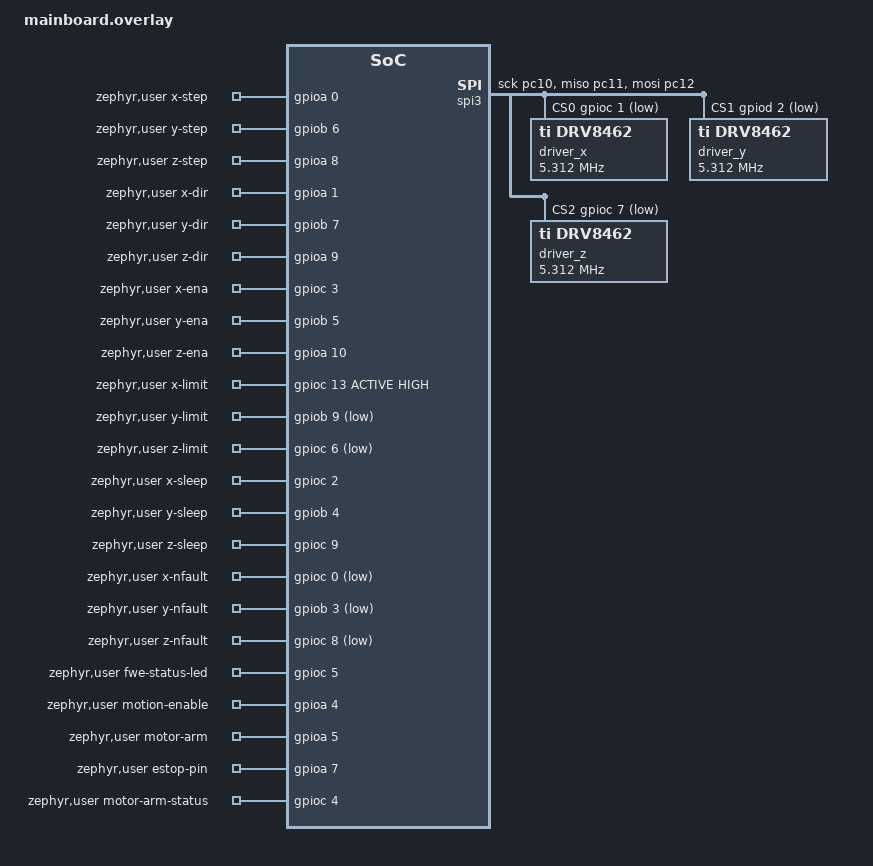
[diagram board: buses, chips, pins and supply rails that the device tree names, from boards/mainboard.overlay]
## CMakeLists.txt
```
cmake_minimum_required(VERSION 3.20)

# for global installs
find_package(Zephyr REQUIRED HINTS $ENV{ZEPHYR_BASE})

# populated the $PROJECT_NAME var and this is what the output files are named
project(firepod)

# lets the compiler find the .h files in src/ (ST's driver headers, platform.h)
target_include_directories(app PRIVATE ${CMAKE_CURRENT_SOURCE_DIR}/src)

# app is a predesignated target that zephyr uses
target_sources(app PRIVATE
    src/main.c
    src/distance_sensor.c
    src/platform.c
    src/VL53L4CD_api.c
    src/VL53L4CD_calibration.c
)
```

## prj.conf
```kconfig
CONFIG_SPI=y
CONFIG_SERIAL=y
CONFIG_UART_INTERRUPT_DRIVEN=y
CONFIG_PRINTK=y
CONFIG_CONSOLE=y
CONFIG_UART_CONSOLE=y
CONFIG_LOG_MODE_IMMEDIATE=y
CONFIG_GPIO=y
```

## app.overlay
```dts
&arduino_i2c {
    status = "okay";
};

/ {
    zephyr,user {
        irq-gpios = <&arduino_header 8 (GPIO_ACTIVE_LOW | GPIO_PULL_UP)>;
    };
};
```

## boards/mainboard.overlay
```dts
/* hi so this is like the device tree overlay, aka like which hardwares are connected to where

WHAT NEEDS TO BE IMPL FOR THE ACC PCB:
    SPI PROTOCAL FOR THE MOTORS
    ENA PINS FOR THE MOTORS

    */
#include <zephyr/dt-bindings/gpio/gpio.h>

/*
    AS OF NOW, MOTION EN AND MOTION ARM ARE JUST LIKE TURNED ON
    HOWEVER! I need to impl to make sure that the estop isnt relreased, and that yea check
    the msg that david sent me and do whatever i need to do
*/
/{
    zephyr,user {
        /* STEP GPIOS:
            every pulse moves the motor one microstep
            # of pulses = how far it foes
            how fast my pulse = how fast it goes  */

        //FINISH UP ON THE SETTING AFTER THE SPI PROTOCAL IS DONE
        x-step-gpios = <&gpioa 0 GPIO_ACTIVE_HIGH>;
        y-step-gpios = <&gpiob 6 GPIO_ACTIVE_HIGH>;
        z-step-gpios = <&gpioa 8 GPIO_ACTIVE_HIGH>;
        /* DIR GPIOS:
            this picks like which way the motor goes (right or left)
            we set this before stepping and wait at least 5 mu/sec after changing it */
        x-dir-gpios = <&gpioa 1 GPIO_ACTIVE_HIGH>;
        y-dir-gpios = <&gpiob 7 GPIO_ACTIVE_HIGH>;
        z-dir-gpios = <&gpioa 9 GPIO_ACTIVE_HIGH>;


        x-ena-gpios = <&gpioc 3 GPIO_ACTIVE_HIGH>;
        y-ena-gpios = <&gpiob 5 GPIO_ACTIVE_HIGH>;
        z-ena-gpios = <&gpioa 10 GPIO_ACTIVE_HIGH>;

        /* ENA GPIOS:
            this turns the driver's power on/off
            for the testing driver this is alr enabled by default when unconnected
            so that;s why we dont have it yet... but will need to impl for the real one

            ACTIVE HIGH CONFIRMED BY ZACH ON 11/23/2026
            */

        x-limit-gpios = <&gpioc 13 ACTIVE HIGH>;
        y-limit-gpios = <&gpiob 9 (GPIO_ACTIVE_LOW | GPIO_PULL_UP)>;
        z-limit-gpios = <&gpioc 6 (GPIO_ACTIVE_LOW | GPIO_PULL_UP)>;

        /* TODO: impl the spi protocal for the actual driver (we dont need it for the curr one) */

        // the SLEEP PINS
        x-sleep-gpios = <&gpioc 2 GPIO_ACTIVE_HIGH>;
        y-sleep-gpios = <&gpiob 4 GPIO_ACTIVE_HIGH>;
        z-sleep-gpios = <&gpioc 9 GPIO_ACTIVE_HIGH>;

        // NFAULTTT
        x-nfault-gpios = <&gpioc 0 (GPIO_ACTIVE_LOW | GPIO_PULL_UP)>;
        y-nfault-gpios = <&gpiob 3 (GPIO_ACTIVE_LOW | GPIO_PULL_UP)>;
        z-nfault-gpios = <&gpioc 8 (GPIO_ACTIVE_LOW | GPIO_PULL_UP)>;

        //FWE STATUS LED
        fwe-status-led-gpios = <&gpioc 5 GPIO_ACTIVE_HIGH>;

        //MOTION ENABLE PIN
        motion-enable-gpios = <&gpioa 4 GPIO_ACTIVE_HIGH>;

        //MOTOR ARM
        motor-arm-gpios = <&gpioa 5 GPIO_ACTIVE_HIGH>;

        //estop status
        estop-pin-gpios = <&gpioa 7 GPIO_ACTIVE_HIGH>;

        //arm status
        motor-arm-status-gpios = <&gpioc 4 GPIO_ACTIVE_HIGH>;


    };
};

&spi3{

    status = "okay";
    pinctrl-0 = <&spi3_sck_pc10 &spi3_miso_pc11 &spi3_mosi_pc12>;
    pinctrl-names = "default";

    // CS (Chip Select) GPIOS
    cs-gpios = <&gpioc 1 GPIO_ACTIVE_LOW>, // X
                <&gpiod 2 GPIO_ACTIVE_LOW>, // Y
                <&gpioc 7 GPIO_ACTIVE_LOW>; // Z

    driver_x: drv8462@0{
        compatible = "ti,drv8462";
        reg = <0>;
        spi-max-frequency = <5312500>;
    };

    driver_y: drv8462@1{
        compatible = "ti,drv8462";
        reg = <1>;
        spi-max-frequency = <5312500>;
    };

    driver_z: drv8462@2{
        compatible = "ti,drv8462";
        reg = <2>;
        spi-max-frequency = <5312500>;
    };
};
```

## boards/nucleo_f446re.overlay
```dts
/* hi so this is like the device tree overlay, aka like which hardwares are connected to where

WHAT NEEDS TO BE IMPL FOR THE ACC PCB:
    SPI PROTOCAL FOR THE MOTORS
    ENA PINS FOR THE MOTORS

    */
#include <zephyr/dt-bindings/gpio/gpio.h>


/{
    zephyr,user {
        /* STEP GPIOS:
            every pulse moves the motor one microstep
            # of pulses = how far it foes
            how fast my pulse = how fast it goes  */
        step-gpios = <&gpioa 8 (GPIO_ACTIVE_LOW | GPIO_OPEN_DRAIN)>;
        /* DIR GPIOS:
            this picks like which way the motor goes (right or left)
            we set this before stepping and wait at least 5 mu/sec after changing it */
        dir-gpios  = <&gpiob 10 (GPIO_ACTIVE_LOW | GPIO_OPEN_DRAIN)>;

        ena-gpios = <&gpiob 14 GPIO_ACTIVE_LOW>;
        /* ENA GPIOS:
            this turns the driver's power on/off
            for the testing driver this is alr enabled by default when unconnected
            so that;s why we dont have it yet... but will need to impl for the real one*/

        /* TODO: impl ENA GPIOS for the actual driver  */
        /* TODO: impl the spi protocal for the actual driver (we dont need it for the curr one) */

    };
};
&usart1 {
    pinctrl-0 = <&usart1_tx_pa9 &usart1_rx_pa10>;
    pinctrl-names = "default";
    current-speed = <115200>;
    status = "okay";
};
```

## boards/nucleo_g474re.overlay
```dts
/* hi so this is like the device tree overlay, aka like which hardwares are connected to where

WHAT NEEDS TO BE IMPL FOR THE ACC PCB:
    SPI PROTOCAL FOR THE MOTORS
    ENA PINS FOR THE MOTORS

    */
#include <zephyr/dt-bindings/gpio/gpio.h>


/{
    zephyr,user {
        /* STEP GPIOS:
            every pulse moves the motor one microstep
            # of pulses = how far it foes
            how fast my pulse = how fast it goes  */
        step-gpios = <&gpioa 8 (GPIO_ACTIVE_LOW | GPIO_OPEN_DRAIN)>;
        /* DIR GPIOS:
            this picks like which way the motor goes (right or left)
            we set this before stepping and wait at least 5 mu/sec after changing it */
        dir-gpios = <&gpiob 10 (GPIO_ACTIVE_LOW | GPIO_OPEN_DRAIN)>;
        ena-gpios = <&gpiob 14 GPIO_ACTIVE_LOW>;
        /* ENA GPIOS:
            this turns the driver's power on/off
            for the testing driver this is alr enabled by default when unconnected
            so that;s why we dont have it yet... but will need to impl for the real one*/

        /* TODO: impl ENA GPIOS for the actual driver  */
        /* TODO: impl the spi protocal for the actual driver (we dont need it for the curr one) */

    };
};
```

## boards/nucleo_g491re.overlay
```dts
/* hi so this is like the device tree overlay, aka like which hardwares are connected to where

WHAT NEEDS TO BE IMPL FOR THE ACC PCB:
    SPI PROTOCAL FOR THE MOTORS
    ENA PINS FOR THE MOTORS

    */
#include <zephyr/dt-bindings/gpio/gpio.h>
#include <zephyr/dt-bindings/spi/spi.h>


/{
    zephyr,user {
        /* STEP GPIOS:
            every pulse moves the motor one microstep
            # of pulses = how far it foes
            how fast my pulse = how fast it goes  */

        //FINISH UP ON THE SETTING AFTER THE SPI PROTOCAL IS DONE
        x-step-gpios = <&gpioa 0 GPIO_ACTIVE_HIGH>;
        y-step-gpios = <&gpiob 6 GPIO_ACTIVE_HIGH>;
        z-step-gpios = <&gpioa 8 GPIO_ACTIVE_HIGH>;
        /* DIR GPIOS:
            this picks like which way the motor goes (right or left)
            we set this before stepping and wait at least 5 mu/sec after changing it */
        x-dir-gpios = <&gpioa 1 GPIO_ACTIVE_HIGH>;
        y-dir-gpios = <&gpiob 7 GPIO_ACTIVE_HIGH>;
        z-dir-gpios = <&gpioa 9 GPIO_ACTIVE_HIGH>;


        x-ena-gpios = <&gpioc 3 GPIO_ACTIVE_HIGH>;
        y-ena-gpios = <&gpiob 5 GPIO_ACTIVE_HIGH>;
        z-ena-gpios = <&gpioa 10 GPIO_ACTIVE_HIGH>;

        /* ENA GPIOS:
            this turns the driver's power on/off
            for the testing driver this is alr enabled by default when unconnected
            so that;s why we dont have it yet... but will need to impl for the real one*/
        x-limit-gpios = <&gpioc 13 (GPIO_ACTIVE_LOW | GPIO_OPEN_DRAIN)>;
        y-limit-gpios = <&gpiob 9 (GPIO_ACTIVE_LOW | GPIO_OPEN_DRAIN)>;
        z-limit-gpios = <&gpioc 6 (GPIO_ACTIVE_LOW | GPIO_OPEN_DRAIN)>;

        /* TODO: impl the spi protocal for the actual driver (we dont need it for the curr one) */

        // the SLEEP PINS
        x-sleep-gpios = <&gpioc 2 GPIO_ACTIVE_HIGH>;
        y-sleep-gpios = <&gpiob 4 GPIO_ACTIVE_HIGH>;
        z-sleep-gpios = <&gpioc 9 GPIO_ACTIVE_HIGH>;

        // NFAULTTT
        x-nfault-gpios = <&gpioc 0 (GPIO_ACTIVE_LOW | GPIO_OPEN_DRAIN)>;
        y-nfault-gpios = <&gpiob 3 (GPIO_ACTIVE_LOW | GPIO_OPEN_DRAIN)>;
        z-nfault-gpios = <&gpioc 8 (GPIO_ACTIVE_LOW | GPIO_OPEN_DRAIN)>;

        //FWE STATUS LED
        fwe-status-led-gpios = <&gpioc 5 GPIO_ACTIVE_HIGH>;




    };
};

&spi3{

    cs-gpios = <&gpioc 1 GPIO_ACTIVE_LOW>; // X
                <&gpiod 2 GPIO_ACTIVE_LOW>; // Y
                <&gpioc 7 GPIO_ACTIVE_LOW>; // Z

    driver_x: drv8462@0{
        compatible = "ti,drv8462";
        reg = <0>;
        spi_max_frequency = <5312500>;

    }

    driver_y: drv8462@1{
        compatible = "ti,drv8462";
        reg = <1>;
        spi_max_frequency = <5312500>;

    }

    driver_z: drv8462@2{
        compatible = "ti,drv8462";
        reg = <2>;
        spi_max_frequency = <5312500>;

    }
}
```

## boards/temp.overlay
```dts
/ {
	chosen {
		zephyr,canbus = &fdcan2;
	};
};

&fdcan2 {
	pinctrl-0 = <&fdcan2_rx_pb12 &fdcan2_tx_pb13>;
	pinctrl-names = "default";
	bitrate = <500000>;
	sample-point = <875>;
	status = "okay";
};
```

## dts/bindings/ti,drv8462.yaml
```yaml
description: TI DRV8462 stepper motor driver, configured over SPI

compatible: "ti,drv8462"

include: spi-device.yaml

properties:
  step-gpios:
    type: phandle-array
    required: true
  dir-gpios:
    type: phandle-array
    required: true
  ena-gpios:
    type: phandle-array
    required: true
  sleep-gpios:
    type: phandle-array
    required: true
  nfault-gpios:
    type: phandle-array
    required: true
  limit-gpios:
    type: phandle-array
    required: true
```

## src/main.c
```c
// #include <stdio.h>
#include <zephyr/kernel.h>
#include "motors.h"
// zephyr/device.h is included eventually through kernel.h
#include <zephyr/drivers/gpio.h>


#define USER_NODE DT_PATH(zephyr_user)
static const struct gpio_dt_spec fw_status_pin = GPIO_DT_SPEC_GET(USER_NODE, fwe_status_led_gpios);



int main(void)
{
    /*

    ISRs: 
        ISRs will be active thorughout the code and will be alive in any part of the states. 
        used for: limit switches, e-stop, and nfault handling 


    CASE HOMING 
        we begin the homing state, where we calibrate our motors. 
        calibrate from the zmotor --> x motor --> y motor.

        check: are all the motors homed in n time? 
            no? ERROR. 
        
    <EXIT WHEN> HOMING SUCCESS --> CASE IDLE

    CASE IDLE
    we wait until we are given an command from the app 
    we will be using an ISR to look out for a command from the app. 

    <EXIT WHEN> TASK GIVEN --> CASE TASK 

    CASE TASK
        CASE SCAN/JOG:  
            [COMMAND PARSER]
                turns raw serial messages into strucutred formats: 
                    SCAN: 
                        SCAN + face list
                    JOG: 
                        JOG + axis/direction

            <EXIT WHEN> all messages are turned into a structured format --> MOTION COMMANDS

            [MOTION COMAMNDS] 
                SCAN: 
                    turns the structured command into target positions (mm -> steps).
                    
                JOG: 
                    this part translates arrow keys --> movement of the motors 

            <EXIT WHEN> all motion commands are clarified --> MOTION PLANNER

            [MOTION PLANNER] 
                SCAN: 
                    takes in the return values from the motion commands are fed into the motion planner. 
                    Uses that info + raster sweep to complete the scans. 
                    FOR MULTIPLE FACES SCAN: calculates the order of the faces that needs to be scanned. 
                    ALSO, coordiantes multi-axis scans 

                JOG: 
                    simple single axis movement corresponding to the commands given from the app. 
            
            <EXIT WHEN> there is a full & complete motion plan for the motors --> MOTION EXECUTOR
                    

            [MOTION EXECUTOR]
                SCAN & JOG: 
                    takes in the return values from the motion planner and actually executes the motion.
                    configures the DRV8462 at startup, sends commands to the zephyr's built in stepper motor api that sends the signals to
                    our motor drivers. 

            <EXIT WHEN> all motion commands are executed --> CASE TASK COMPLETED


        CASE TASK COMPLETED
            we set a time limit (2 minutes) and poll to make sure that we don't get any additional commands from the app. 
        
        <EXIT WHEN> either: 
            1. we get a new command from the app --> CASE TASK
            2. we don't get any new commands from the app after time limit--> CASE STOP MACHINE

        CASE ERROR 
            split into 2 seperate conditions
                CASE CRITICAL
                (e-stop/limit switch/nfault)
                    machine is shut down and the user is notified of the error.
                
                <EXIT WHEN> user does a full reset --> CASE HOMING
                
                CASE NON-CRITICAL
                (radiation)
                    machine is not shut down, but the user is notified of the error.
                
                <EXIT WHEN> problamtic area is rescanned, and is normal --> CASE TASk

        CASE STOP MACHINE
            motor z is lowered down and the power is shut down 
    */

    gpio_pin_configure_dt(&fw_status_pin, GPIO_OUTPUT_INACTIVE);
    for (int i = 0; i < 3; i++) {          // 3 quick blinks = "I just booted"
        gpio_pin_set_dt(&fw_status_pin, 1);
        k_msleep(100);
        gpio_pin_set_dt(&fw_status_pin, 0);
        k_msleep(100);
    }
    k_msleep(1000);
    
    

    if (axis_setup(&x_axis) != 0) {
        return 0;
    }
    if (axis_setup(&y_axis) != 0) {
        return 0;
    }
    if (axis_setup(&z_axis) != 0) {
        return 0;
    }

    if (motor_power() != 0) return 0;  

    if (axis_enable(&z_axis) != 0) {
        return 0;
    }


    //axis_move(&z_axis, 1600, 1, 500);
    //axis_move(&z_axis, 1600, 0, 500);

    gpio_pin_configure_dt(&fw_status_pin, GPIO_OUTPUT_INACTIVE);

     while (true) {
        if (gpio_pin_get_dt(&z_axis.nfault) == 1) {   // driver says FAULT
            gpio_pin_toggle_dt(&fw_status_pin);
            k_msleep(100);                            // fast blink = fault
            continue;                                 // skip moving, check again
        }

        axis_move(&z_axis, 1600, 1, 500);  //move 2 rev direciton 1 in 500us steps
        gpio_pin_set_dt(&fw_status_pin, 1); // blink 
        k_msleep(250);
        axis_move(&z_axis, 1600, 0, 500);
        gpio_pin_set_dt(&fw_status_pin, 0); 
        k_msleep(250);
    }
}
```

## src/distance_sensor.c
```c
#include <zephyr/kernel.h>
#include <zephyr/drivers/gpio.h>
#include <zephyr/logging/log.h>
#include "VL53L4CD_api.h"
#include "VL53L4CD_calibration.h"

LOG_MODULE_REGISTER(distance_sensor, LOG_LEVEL_INF);

#define MODE_INTERRUPT 0
#define MODE_POLLING   1
#define MODE_CALIBRATE 2

#define SENSOR_MODE MODE_INTERRUPT

#define SENSOR_ADDR            0x29
#define THRESH_LOW_MM          35
#define THRESH_HIGH_MM         50
#define OFFSET_MM              23
#define CAL_TARGET_MM          100
#define CAL_SAMPLES            20
#define SENSOR_THREAD_STACK    2048
#define SENSOR_THREAD_PRIORITY 0

static const struct gpio_dt_spec irq_pin = GPIO_DT_SPEC_GET(DT_PATH(zephyr_user), irq_gpios);
static struct gpio_callback irq_cb;
K_SEM_DEFINE(sensor_sem, 0, 1);

static void sensor_isr(const struct device *port, struct gpio_callback *cb, uint32_t pins)
{
    k_sem_give(&sensor_sem);
}

static int sensor_init_common(void)
{
    uint16_t id = 0;

    if (VL53L4CD_GetSensorId(SENSOR_ADDR, &id) || id != 0xEBAA) {
        LOG_ERR("Sensor not found (id 0x%04X)", id);
        return -1;
    }
    LOG_INF("Sensor found (id 0x%04X)", id);

    if (VL53L4CD_SensorInit(SENSOR_ADDR)) {
        LOG_ERR("Sensor init failed");
        return -1;
    }

    if (SENSOR_MODE != MODE_CALIBRATE) {
        VL53L4CD_SetOffset(SENSOR_ADDR, OFFSET_MM);
        LOG_INF("Offset applied: %d mm", OFFSET_MM);
    }

    VL53L4CD_SetRangeTiming(SENSOR_ADDR, 50, 0);
    return 0;
}

static void run_calibration(void)
{
    int16_t offset = 0;

    LOG_INF("Place a flat target at %d mm. Starting in 5 s...", CAL_TARGET_MM);
    k_msleep(5000);

    if (VL53L4CD_CalibrateOffset(SENSOR_ADDR, CAL_TARGET_MM, &offset, CAL_SAMPLES)) {
        LOG_ERR("Calibration failed");
        return;
    }
    LOG_INF("Calibration done. Set OFFSET_MM to %d", offset);
}

static void run_polling(void)
{
    VL53L4CD_ResultsData_t r;
    uint8_t ready = 0;

    VL53L4CD_StartRanging(SENSOR_ADDR);
    LOG_INF("Polling mode started");

    while (1) {
        VL53L4CD_CheckForDataReady(SENSOR_ADDR, &ready);
        if (ready) {
            VL53L4CD_GetResult(SENSOR_ADDR, &r);
            VL53L4CD_ClearInterrupt(SENSOR_ADDR);
            LOG_INF("Distance: %u mm (status %u)", r.distance_mm, r.range_status);
        }
        k_msleep(1000);
    }
}

static void run_interrupt(void)
{
    VL53L4CD_ResultsData_t r;

    VL53L4CD_SetDetectionThresholds(SENSOR_ADDR, THRESH_LOW_MM, THRESH_HIGH_MM, 0);

    gpio_pin_configure_dt(&irq_pin, GPIO_INPUT);
    gpio_pin_interrupt_configure_dt(&irq_pin, GPIO_INT_EDGE_TO_ACTIVE);
    gpio_init_callback(&irq_cb, sensor_isr, BIT(irq_pin.pin));
    gpio_add_callback(irq_pin.port, &irq_cb);

    VL53L4CD_StartRanging(SENSOR_ADDR);
    LOG_INF("Interrupt mode started (threshold %d mm)", THRESH_LOW_MM);

    while (1) {
        /* DEBUG: wait up to 500 ms for the interrupt. If it doesn't come,
         * print the D2 pin level and the sensor's own interrupt flag,
         * then keep waiting. Change back to K_FOREVER once fixed. */
        if (k_sem_take(&sensor_sem, K_MSEC(500)) != 0) {
            uint8_t ready = 0;

            VL53L4CD_CheckForDataReady(SENSOR_ADDR, &ready);
            LOG_INF("debug: D2 pin level=%d, sensor says interrupt=%u",
                    gpio_pin_get_raw(irq_pin.port, irq_pin.pin), ready);
            continue;
        }

        VL53L4CD_GetResult(SENSOR_ADDR, &r);
        VL53L4CD_ClearInterrupt(SENSOR_ADDR);

        if (r.range_status == 0 && r.distance_mm < THRESH_LOW_MM) {
            LOG_INF("Object detected: %u mm", r.distance_mm);
        } else {
            LOG_WRN("Interrupt with unconfirmed reading: %u mm (status %u)",
                    r.distance_mm, r.range_status);
        }
    }
}

static void sensor_thread(void *a, void *b, void *c)
{
    if (sensor_init_common()) {
        return;
    }

    if (SENSOR_MODE == MODE_CALIBRATE) {
        run_calibration();
    } else if (SENSOR_MODE == MODE_POLLING) {
        run_polling();
    } else {
        run_interrupt();
    }
}

K_THREAD_DEFINE(sensor_tid, SENSOR_THREAD_STACK, sensor_thread, NULL, NULL, NULL,
                SENSOR_THREAD_PRIORITY, 0, 0);
```

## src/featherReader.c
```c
#include <zephyr/kernel.h>
#include <zephyr/device.h>
#include <zephyr/drivers/uart.h>
#include <zephyr/sys/printk.h>
#include <zephyr/sys/ring_buffer.h>

#define STX 0x02
#define ETX 0x03

#define RADIATIONINDEX 1
#define CEHCKSUMINDEX 2

/// ask about this and overlays
static const struct device *uart = DEVICE_DT_GET(DT_NODELABEL(lpuart1));

//RING_BUF_DECLARE(bufDump, 200);

//single buffer for now 5 frames, 20 bytes, 4 bytes each
RING_BUF_DECLARE(bufA, 20);
//RING_BUF_DECLARE(bufB, 10);
// buffer with only radiation data
RING_BUF_DECLARE(bufRad, 20);
K_SEM_DEFINE(semFeather, 0, 1);

float threshold = 1; // need to figure out how the app can change this value.

void uart_cb(const struct device *dev, void *user_data) {
    uint8_t buf[20];
    int n;

    if (!uart_irq_update(dev)) {
        return;
    }

    // keep putting into buffer, give semaphore when buffer is full
    while (uart_irq_rx_ready(dev)) {
        n = uart_fifo_read(dev, buf, sizeof(buf));
        if (n > 0) {
            ring_buf_put(&bufA, buf, n);
            k_sem_give(&semFeather);
        }
    }
}

int parsePacket(uint8_t frame[]) {
    // the frame is structured as STX radiation checksum ETX
    // checksum is raditation value plus STX (2)
    uint8_t checksumVal = frame[CEHCKSUMINDEX]; 
    uint8_t checksum = (STX + frame[RADIATIONINDEX]);
    uint8_t radiation = frame[RADIATIONINDEX];

    if (checksumVal != checksum) {
        return -1;
    }

    if (radiation >= threshold ) {
        // activate interupt.
        // irq_enable(IRQ_Radiation);
    }

    printk("%d", radiation);

    // single buffer for now
    ring_buf_put(&bufRad, &radiation, sizeof(radiation));

    /* double buffer
    if (ring_buf_space_get(&bufA) == 0) {
         printk("Buffer B");
        ring_buf_put(&bufB, radiation, 1);
    } else {
        printk("Buffer A");
        ring_buf_put(&bufA, radiation, 1);
    }
    */
    return 0;
}

void bufReader() {
    uint8_t buf[20];
    uint8_t n;
    uint8_t packet[4];
    int packetLen = 0;
    while (1) {
        k_sem_take(&semFeather, K_FOREVER);

        n = ring_buf_get(&bufA, buf, sizeof(buf));

        bool startFound = false;

        if (n > 1) {
            for (int i = 0; i < n; i++) {
                if (buf[i] == STX) {
                    startFound = true;
                    packet[packetLen] = buf[i];
                    packetLen++;
                    continue;
                }

                if (startFound && (packetLen < 4)) {
                    packet[packetLen] = buf[i];
                    packetLen++;
                }

                if (buf[i] == ETX && startFound && (packetLen == 4)) {
                    parsePacket(packet);
                    k_sem_give(&semFeather);
                    startFound = false;
                    packetLen = 0;
                }

                if (packetLen > 4) {
                    packetLen = 0;
                    startFound = false;
                }
            }
        }
    }
}

// is this right...
K_THREAD_DEFINE(reader, 1024, bufReader,
		NULL, NULL, NULL, 5, 0, 0);

int featherSerialISR() {
    // setup
    if (!device_is_ready(uart)) {
        //return?
        return -1;
    }

    uart_irq_callback_user_data_set(uart, uart_cb, NULL);
    uart_irq_rx_enable(uart);

    return 0;
}

// fill the buffer. once filled. give semaphore.
// take semaphore, parse through buffer to get frame, then get radiation, check checksum, check radiation interupt. fill another buffer with just radiation data. 
```

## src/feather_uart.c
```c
// #include <stdio.h>
#include <zephyr/kernel.h>
// zephyr/device.h is included eventually through kernel.h
#include <zephyr/drivers/gpio.h>

#include <zephyr/device.h>
#include <zephyr/drivers/uart.h>
#include <zephyr/sys/printk.h>
#include <zephyr/sys/ring_buffer.h>

#include "pcb_serial.h"

#define RADIATIONINDEX 1
#define CEHCKSUMINDEX 2

#define STX 0x02
#define ETX 0x03
/// ask about this and overlays
static const struct device *uart_feather = DEVICE_DT_GET(DT_NODELABEL(usart1));

//single buffer for now
RING_BUF_DECLARE(bufA, 128);

// buffer with only radiation data one for rescaning and one for sending to pc.
K_MSGQ_DEFINE(rescan_q, 1, 20, 1);
K_MSGQ_DEFINE(pc_tx_q, 1, 20, 1);

K_SEM_DEFINE(semFeather, 0, 1);

volatile uint8_t threshold = 1; // need to figure out how the app can change this value.
volatile bool RESCAN = false; // need to figure out how the app can change this value.

// the callback for when data arrives on the rx line
void feather_rx_uart_cb(const struct device *dev, void *user_data) {
    uint8_t buf[20];
    int num_bytes;
    
    uart_irq_update(dev);

    // keep putting into buffer, give semaphore
    while (uart_irq_rx_ready(dev)) {
        num_bytes = uart_fifo_read(dev, buf, sizeof(buf));
        if (num_bytes > 0) {
            ring_buf_put(&bufA, buf, num_bytes);
            k_sem_give(&semFeather);
        }
    }
}

int parse_packet(uint8_t frame[]) {
    // the frame is structured as STX radiation checksum ETX
    // checksum is raditation value plus STX (2)
    uint8_t checksumVal = frame[CEHCKSUMINDEX]; 
    uint8_t checksum = (STX + frame[RADIATIONINDEX]);
    uint8_t radiation = frame[RADIATIONINDEX];

    if (checksumVal != checksum) {
        return -1;
    }

    if (radiation >= threshold && !RESCAN) {
        // activate interupt.
        // irq_enable(IRQ_Radiation);
        RESCAN = true;
    }

    printk("%d\n", radiation);

    // single buffer for now
    if (RESCAN) {
        k_msgq_put(&rescan_q, &radiation, K_FOREVER);
    }
    
    k_msgq_put(&pc_tx_q, &radiation, K_FOREVER);

    /* double buffer
    if (ring_buf_space_get(&bufA) == 0) {
         printk("Buffer B");
        ring_buf_put(&bufB, radiation, 1);
    } else {
        printk("Buffer A");
        ring_buf_put(&bufA, radiation, 1);
    }
    */
    return 0;
}

void buf_reader(void *p1, void *p2, void *p3) {
    uint8_t buf[32];
    uint8_t packet[4];
    int packetLen = 0;

    while (1) {
        k_sem_take(&semFeather, K_FOREVER);

        int num_bytes;
        while ((num_bytes = ring_buf_get(&bufA, buf, sizeof(buf))) > 0) {
            for (int i = 0; i < num_bytes; i++) {
                uint8_t b = buf[i];

                if (packetLen == 0) {          // waiting for start
                    if (b == STX) {
                        packet[packetLen++] = b;
                    }
                    continue;
                }

                packet[packetLen++] = b;       // STX, rad, checksum, ETX
                if (packetLen == 4) {
                    if (b == ETX) {
                        parse_packet(packet);  // checksum checked inside
                    }
                    packetLen = 0;             // reset for next STX
                }
            }
        }
    }
}

K_THREAD_DEFINE(reader, 1024, buf_reader, NULL, NULL, NULL, 5, 0, 0);

int feather_serial_isr_init(void) {
    // setup
    if (!device_is_ready(uart_feather)) {
        return -1;
    }

    uart_irq_callback_user_data_set(uart_feather, feather_rx_uart_cb, NULL);
    uart_irq_rx_enable(uart_feather);

    return 0;
}

/*
int main(void)
{
    printk("starting\n");
    feather_serial_isr_init();

    while (true) {
         switch (state) {
            case STATE_IDLE:
                wait for command from the app to start scanning.
            case STATE_TESTING:
                test trying to read data
                the data will be stored in a buffer.
            case STATE_MONITORING:
                move motors and scan for radiation, continue to read data
                move motors left to right and then right to left row by row.
                when done with one face, rotate to another face.
            case STATE_RESCAN:
                reconfirm radiation level reading,
                move motors to scan the area agai.
                after confirmation, switch back to STATE_MONITORING
            case STATE_CLEANUP:
                clean up after done with scanning, 
                move motors to home whith limit siwtches.
                send report to the app
                switch to STATE_IDLE
           }
       k_msleep(100);
    }
}
*/
```

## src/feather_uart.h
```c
#ifndef FEATHER_UART_H
#define FEATHER_UART_H

extern struct k_msgq rescan_q;
extern struct k_msgq pc_tx_q;
extern volatile uint8_t threshold;

#define STX 0x02
#define ETX 0x03

#endif
```

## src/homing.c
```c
#include <zephyr/kernel.h>
#include <zephyr/drivers/gpio.h>
#include "homing.h"

// home this axis
#define HOME_DIR         0       // DIR value that moves TOWARD the switch (CHECK THIS!)
#define HOME_FAST_US     1000    // fast approach speed (step interval)
#define HOME_MAX_STEPS   8000    // timeout: give up after this many steps (small for testing!)

// is this axis's limit switch pressed? 1 = pressed, 0 = not
int axis_limit_pressed(const struct axis *axis) {
    return gpio_pin_get_dt(&axis->limit);
}


int home_axis(const struct axis *axis) {
    limit_clear(axis);                               // start with the flag down

    // 1. FAST approach: move toward the switch until it clicks
    int done = axis_move(axis, HOME_MAX_STEPS, HOME_DIR, HOME_FAST_US);

    if (done >= HOME_MAX_STEPS) {                    // went the whole way, no click
        printk("ERROR! %s homing timeout\n", axis->name);
        safe_trigger();
        return -1;
    }

    //todo check in with zach and see the whereabouts about the distance sensor and 
    // try to integrate that into the error one above so tht we can double check for our safety system

    printk("%s hit the switch after %d steps\n", axis->name, done);
    return 0;
}
```

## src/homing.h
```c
#ifndef HOMING_H
#define HOMING_H

#include "motors.h"

int axis_limit_pressed(const struct axis *axis);
int home_axis(const struct axis *axis);
#endif
```

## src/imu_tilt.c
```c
/*
 * imu.c - ISM330DHCX bring-up test (tilt only)
 *
 * Reads the SparkFun Micro 6DoF IMU - ISM330DHCX (Qwiic) over I2C using
 * Zephyr's built-in st,ism330dhcx driver and logs the acceleration (m/s^2)
 * and the tilt angles calculated from it. Only tilt is needed, so only the
 * accelerometer is used.
 *
 * This is a polling test to see what data the IMU gives back.
 * Interrupt-driven reads and the step-verification logic come later,
 * once the tilt motor code exists.
 */

#include <zephyr/kernel.h>
#include <zephyr/device.h>
#include <zephyr/drivers/sensor.h>
#include <zephyr/logging/log.h>
#include <math.h>

LOG_MODULE_REGISTER(imu, LOG_LEVEL_INF);

#define IMU_SAMPLE_RATE_HZ  104    /* how often the IMU measures internally */
#define IMU_LOG_PERIOD_MS   2000    /* how often we read and log (5 times per second) */
#define IMU_THREAD_STACK    2048
#define IMU_THREAD_PRIORITY 7      /* below the main state machine and motor control */

#define RAD_TO_DEG (180.0 / 3.14159265358979323846)

/* The ISM330DHCX node comes from app.overlay (ism330dhcx@6b on arduino_i2c) */
static const struct device *const imu = DEVICE_DT_GET_ONE(st_ism330dhcx);

static void imu_thread(void *a, void *b, void *c)
{
    struct sensor_value acc[3];
    struct sensor_value rate = { .val1 = IMU_SAMPLE_RATE_HZ, .val2 = 0 };

    /* Zephyr has already tried to start the driver at boot; this checks it worked */
    if (!device_is_ready(imu)) {
        LOG_ERR("ISM330DHCX not ready: check wiring and I2C address (0x6B)");
        return;
    }

    /*
     * The accelerometer is off at power-up. Setting a sample rate switches
     * it on. The range is left at its power-up default of +/-2 g, which is
     * plenty, since gravity is 1 g and the tilt axis moves slowly.
     */
    if (sensor_attr_set(imu, SENSOR_CHAN_ACCEL_XYZ,
                        SENSOR_ATTR_SAMPLING_FREQUENCY, &rate)) {
        LOG_ERR("ISM330DHCX configuration failed");
        return;
    }
    LOG_INF("ISM330DHCX ready (accelerometer, %d Hz)", IMU_SAMPLE_RATE_HZ);

    while (1) {
        /* Read one new sample over I2C */
        if (sensor_sample_fetch_chan(imu, SENSOR_CHAN_ACCEL_XYZ)) {
            LOG_WRN("ISM330DHCX read failed");
            k_msleep(IMU_LOG_PERIOD_MS);
            continue;
        }

        /* Zephyr gives acceleration in m/s^2 */
        sensor_channel_get(imu, SENSOR_CHAN_ACCEL_XYZ, acc);

        double ax = sensor_value_to_double(&acc[0]);
        double ay = sensor_value_to_double(&acc[1]);
        double az = sensor_value_to_double(&acc[2]);

        /*
         * Tilt from gravity. When the board is still, the accelerometer only
         * feels gravity, so the direction of that 9.8 m/s^2 tells us how the
         * board is tilted. Roll = tilt around X, pitch = tilt around Y.
         * Only one of these will match the tilt motor's axis, depending
         * on how the IMU is mounted. The reading is only accurate while
         * the board is still, which matches reading it after a move ends.
         */
        double roll = atan2(ay, az) * RAD_TO_DEG;
        double pitch = atan2(-ax, sqrt(ay * ay + az * az)) * RAD_TO_DEG;

        LOG_INF("accel x=%6.2f y=%6.2f z=%6.2f m/s^2 | roll=%6.1f pitch=%6.1f deg",
                ax, ay, az, roll, pitch);

        k_msleep(IMU_LOG_PERIOD_MS);
    }
}

K_THREAD_DEFINE(imu_tid, IMU_THREAD_STACK, imu_thread, NULL, NULL, NULL,
                IMU_THREAD_PRIORITY, 0, 0);
```

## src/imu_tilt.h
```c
#ifndef IMU_TILT_H
#define IMU_TILT_H

#include <zephyr/kernel.h>

/* Shared lock for the I2C bus (IMU, and the distance sensor later) */
extern struct k_mutex i2c_bus_mutex;

/* Set up the IMU: sample rate and data-ready interrupt. Returns 0 on success. */
int imu_tilt_init(void);

/* Take the IMU's current angle as 0 deg. Call with the tilt axis at its start position. */
int imu_set_zero(void);

/*
 * Wake the IMU thread, wait for it to collect fresh data-ready samples, and
 * write the measured tilt angle (deg, relative to the zero) into *tilt_deg.
 * Blocks until done. Returns 0 on success.
 */
int imu_measure_tilt(double *tilt_deg);

#endif
```

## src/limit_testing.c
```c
#include <zephyr/kernel.h>
#include <zephyr/drivers/gpio.h>
#include "homing.h"

// is this axis's limit switch pressed? 1 = pressed, 0 = not
int axis_limit_pressed(const struct axis *axis) {
    return gpio_pin_get_dt(&axis->limit);
}
```

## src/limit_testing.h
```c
#ifndef HOMING_H
#define HOMING_H

#include "motors.h"

int axis_limit_pressed(const struct axis *axis);

#endif
```

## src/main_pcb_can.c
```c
#include <zephyr/kernel.h>
#include <zephyr/device.h>
#include <zephyr/drivers/can.h>
#include <zephyr/sys/printk.h>

#define ESTOP_ID 0x101
#define COMMAND_ID 0x102
#define STATE_ID 0x103

CAN_MSGQ_DEFINE(rx_msgq_main, 10);

static const struct device *const can_dev = DEVICE_DT_GET(DT_CHOSEN(zephyr_canbus));

void can_rx_main(void *p1, void *p2, void *p3) {
    struct can_frame frame;

	while (1) {
		k_msgq_get(&rx_msgq_main, &frame, K_FOREVER);

        printk("%d, %d", frame.id, frame.data[0]);
    }
}

int send_can_msg(int id, int data) {
    // can sending frame, it only sends 8 bits at a time, so data can't be longer than a byte.
    // I don't think the data is greater than 255, so it should be fine for now.
    struct can_frame frame = {
		.id = id,
		.flags = 0,
		.dlc = 1,
		.data = { data },
	};

	return can_send(can_dev, &frame, K_MSEC(100), NULL, NULL);
}

int main_pcb_can_init() {

    if (!device_is_ready(can_dev)) {
		return -1;
	}

    // accepts every message
    const struct can_filter can_filter_main = {
        .id = 0,
        .mask = 0,
        .flags = 0,
    };

    can_add_rx_filter_msgq(can_dev, &rx_msgq_main, &can_filter_main);

    if (can_start(can_dev) != 0) {
        return -1;
    };

    return 0;
}

//main
/*

K_THREAD_DEFINE(can_rx, 1024, can_rx_main, NULL, NULL, NULL, 5, 0, 0);

int main(void) {
    if (main_pcb_can_init() != 0) {
		printk("CAN setup failed");
	}

    while (true) {
        send_can_msg(COMMAND_ID, 2);
        k_msleep(1000);
    }
}
*/
```

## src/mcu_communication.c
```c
#include <zephyr/kernel.h>
#include <zephyr/device.h>
#include <zephyr/drivers/uart.h>
#include <zephyr/sys/printk.h>
#include <zephyr/sys/ring_buffer.h>

#define STX 0x02
#define ETX 0x03

#define ACK 0x06
#define NAK 0x15

#define RADIATIONINDEX 1
#define CEHCKSUMINDEX 2

/// ask about this and overlays
static const struct device *uart_feather = DEVICE_DT_GET(DT_NODELABEL(usart1));
static const struct device *uart_pc = DEVICE_DT_GET(DT_NODELABEL(lpuart1)); // will change

//RING_BUF_DECLARE(bufDump, 200);
//single buffer for now 5 frames, 20 bytes, 4 bytes each
RING_BUF_DECLARE(buf_feather, 20);
//RING_BUF_DECLARE(bufB, 10);
// buffer with only radiation data
RING_BUF_DECLARE(bufRad, 20);
K_SEM_DEFINE(semFeather, 0, 1);

RING_BUF_DECLARE(buf_pc, 20);
K_SEM_DEFINE(pc_send_sem, 0, 1);

float threshold = 1; // need to figure out how the app can change this value.

volatile bool start_scan = false;
volatile bool end_scan = false;

void feather_rx_uart_cb(const struct device *dev, void *user_data) {
    uint8_t buf[20];
    int num_bytes;

    uart_irq_update(dev);

    // keep putting into buffer, give semaphore when buffer is full
    while (uart_irq_rx_ready(dev)) {
        num_bytes = uart_fifo_read(dev, buf, sizeof(buf));
        if (num_bytes > 0) {
            ring_buf_put(&buf_feather, buf, num_bytes);
            k_sem_give(&semFeather);
        }
    }
}

int parse_packet(uint8_t frame[]) {
    // the frame is structured as STX radiation checksum ETX
    // checksum is raditation value plus STX (2)
    uint8_t checksumVal = frame[CEHCKSUMINDEX]; 
    uint8_t checksum = (STX + frame[RADIATIONINDEX]);
    uint8_t radiation = frame[RADIATIONINDEX];

    if (checksumVal != checksum) {
        return -1;
    }

    if (radiation >= threshold ) {
        // activate interupt.
        // irq_enable(IRQ_Radiation);
    }

    printk("%d", radiation);

    // single buffer for now
    ring_buf_put(&bufRad, &radiation, sizeof(radiation));

    /* double buffer
    if (ring_buf_space_get(&bufA) == 0) {
         printk("Buffer B");
        ring_buf_put(&bufB, radiation, 1);
    } else {
        printk("Buffer A");
        ring_buf_put(&bufA, radiation, 1);
    }
    */
    return 0;
}

void buf_reader() {
    uint8_t buf[20];
    uint8_t n;
    uint8_t packet[4];
    int packetLen = 0;

    while (1) {
        k_sem_take(&semFeather, K_FOREVER);

        n = ring_buf_get(&buf_feather, buf, sizeof(buf));

        bool startFound = false;

        if (n > 1) {
            for (int i = 0; i < n; i++) {
                if (buf[i] == STX) {
                    startFound = true;
                    packet[packetLen] = buf[i];
                    packetLen++;
                    continue;
                }

                if (startFound && (packetLen < 4)) {
                    packet[packetLen] = buf[i];
                    packetLen++;
                }

                if (buf[i] == ETX && startFound && (packetLen == 4)) {
                    parse_packet(packet);
                    startFound = false;
                    packetLen = 0;
                }

                if (packetLen > 4) {
                    packetLen = 0;
                    startFound = false;
                }
            }
        }
    }
}

K_THREAD_DEFINE(reader, 1024, buf_reader, NULL, NULL, NULL, 5, 0, 0);

int feather_serial_isr_init() {
    // setup
    if (!device_is_ready(uart_feather)) {
        return -1;
    }

    uart_irq_callback_user_data_set(uart_feather, feather_rx_uart_cb, NULL);
    uart_irq_rx_disable(uart_feather);

    return 0;
}

// *****************************************************************************************
// ******************************* PC Communication ****************************************
// *****************************************************************************************

void pc_rx_uart_cb(const struct device *dev, void *user_data) {
    uint8_t buf[20];
    int num_bytes;

    uart_irq_update(dev);

    while (uart_irq_rx_ready(dev)) {
        num_bytes = uart_fifo_read(dev, buf, sizeof(buf));
        if (num_bytes > 0) {
            ring_buf_put(&buf_pc, buf, num_bytes);
            k_sem_give(&pc_send_sem);
        }
    }
}

// another function to 
/*
        read PC and parse to get START_SCAN STX THRESHOLD FACES_TO_SCAN CHECKSUM ETX
        if (START_SCAN) {
            check checksum, correct send ACK, incorrect send NAK.
            PC WILL SEND AGAIN IF NAK or no response recieved
            
            uart_irq_rx_enable(uart_feather); // to start reading from feather
            k_thread_resume(...); // start the thread to send data to PC
            set threshold 
        }
*/

void pc_rx_wake_response() {
    uint8_t buf[1];

    while (1) {
        k_sem_take(&pc_send_sem, K_FOREVER);
        ring_buf_get(&buf_pc, buf, sizeof(buf));

        if (buf[0] == '@') {
            start_scan = true;
            uart_poll_out(uart_pc, ACK);
        }
    }
}

void pc_rx_buf_parser() {
    // will chnage
    uint8_t buf[20];
    uint8_t n;
    uint8_t packet[4];
    int packetLen = 0;

    while (1) {
        k_sem_take(&pc_send_sem, K_FOREVER);

        n = ring_buf_get(&buf_feather, buf, sizeof(buf));

        bool startFound = false;

        if (n > 1) {
            for (int i = 0; i < n; i++) {
                if (buf[i] == STX) {
                    startFound = true;
                    packet[packetLen] = buf[i];
                    packetLen++;
                    continue;
                }

                if (startFound && (packetLen < 4)) {
                    packet[packetLen] = buf[i];
                    packetLen++;
                }

                if (buf[i] == ETX && startFound && (packetLen == 4)) {
                    parse_packet(packet);
                    startFound = false;
                    packetLen = 0;
                }

                if (packetLen > 4) {
                    packetLen = 0;
                    startFound = false;
                }
            }
        }
    }
}

void pc_tx_uart_cb(const struct device *dev, void *user_data) {
    // position, face, timestamp (ill get it from the pc), value
    uint8_t packet[20];
    int packet_len;

    int num_bytes;

    uart_irq_update(dev);

    while (uart_irq_tx_ready(dev)) {
        /*
            packet[0] = STX
            uint_t rad;
            rad = ring_buf_get(&bufRad, &rad, 1)
            packet[1] = rad
            packet[2] = X Position
            packet[3] = Y Position
            Packet[4] = Z Position
            Packet[5] = face
            Packet[6] = limit swtich value
            ...
            packet[...] = EXT
        */
        num_bytes = uart_fifo_fill(dev, packet, sizeof(packet));
    }
}

// K_THREAD_DEFINE(start everyting, 1024, pc_send_signal, NULL, NULL, NULL, 5, 0, 0);
// immeditately k_thread_suspend(); only start when pc tells it to start sedning

int pc_send_signal() {
    while (1) {
        if (!ring_buf_is_empty(&bufRad)) {
            uart_irq_tx_enable(uart_pc);
        }
    }
}

int pc_serial_isr_init() {
    // setup
    if (!device_is_ready(uart_pc)) {
        return -1;
    }

    uart_irq_callback_user_data_set(uart_pc, pc_rx_uart_cb, NULL);
    uart_irq_callback_user_data_set(uart_pc, pc_tx_uart_cb, NULL);

    uart_irq_rx_enable(uart_pc);
    uart_irq_tx_disable(uart_pc);

    return 0;
}
```
